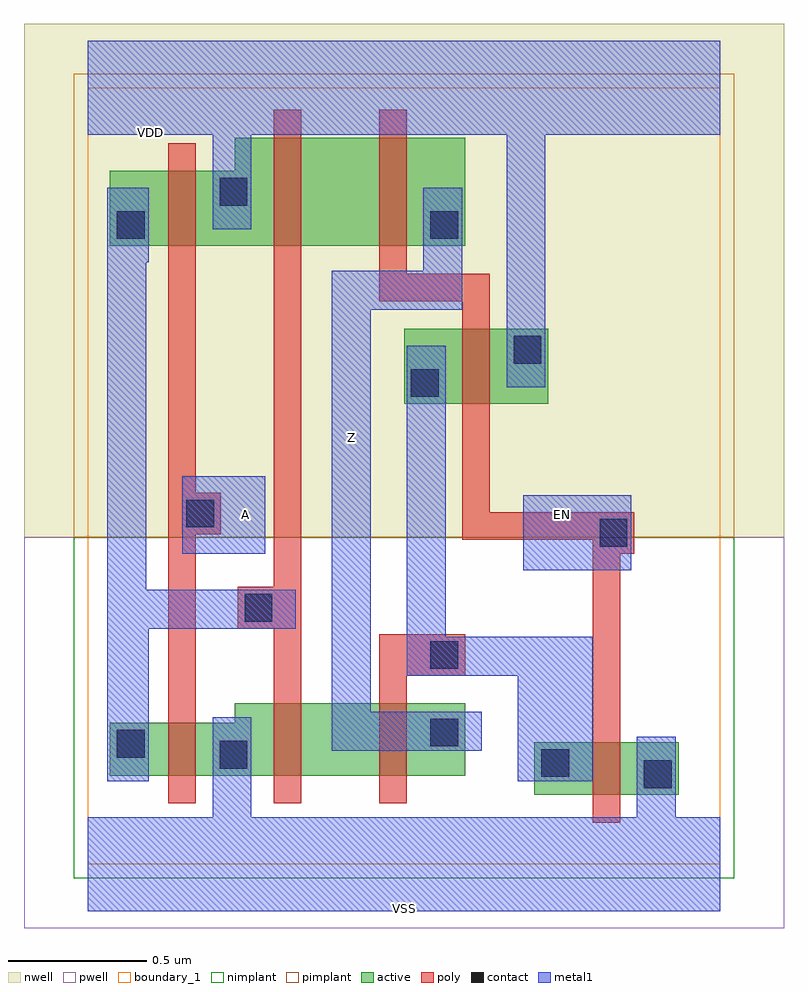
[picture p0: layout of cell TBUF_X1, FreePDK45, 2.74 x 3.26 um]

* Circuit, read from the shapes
.subckt TBUF_X1 A EN VDD VSS Z
M1 VSS A n1 VSUBS nfet w=0.19u l=0.1u
M2 n2 n1 VSS VSUBS nfet w=0.26u l=0.1u
M3 Z n3 n2 VSUBS nfet w=0.26u l=0.1u
M4 VSS EN n3 VSUBS nfet w=0.19u l=0.1u
M5 VDD A n1 n4 pfet w=0.27u l=0.1u
M6 n5 n1 VDD n4 pfet w=0.39u l=0.1u
M7 Z EN n5 n4 pfet w=0.39u l=0.1u
M8 VDD EN n3 n4 pfet w=0.27u l=0.1u
.ends

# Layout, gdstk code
import gdstk
lib = gdstk.Library(unit=1e-6, precision=1e-09)
def R(c, l, rs):  # rectangles x0, y0, x1, y1
    for r in rs: c.add(gdstk.rectangle(r[:2], r[2:], *l))
def P(c, l, *ps):  # polygons
    for p in ps: c.add(gdstk.Polygon(p, *l))
active = (1, 0)
pwell = (2, 0)
nwell = (3, 0)
nimplant = (4, 0)
pimplant = (5, 0)
poly = (9, 0)
contact = (10, 0)
metal1 = (11, 0)
boundary_1 = (235, 1)

tbuf_x1 = lib.new_cell('TBUF_X1')
R(tbuf_x1, active, [(1.61,0.25,2.13,0.44), (1.14,1.66,1.66,1.93)])
P(tbuf_x1, active, [(0.08,2.23),(1.36,2.23),(1.36,2.62),(0.53,2.62),(0.53,2.5),(0.08,2.5)],
  [(0.08,0.32),(1.36,0.32),(1.36,0.58),(0.53,0.58),(0.53,0.51),(0.08,0.51)])
R(tbuf_x1, pwell, [(-0.23,-0.23,2.51,1.18)])
R(tbuf_x1, nwell, [(-0.23,1.18,2.51,3.03)])
R(tbuf_x1, nimplant, [(-0.05,-0.05,2.33,1.18)])
R(tbuf_x1, pimplant, [(-0.05,1.18,2.33,2.85)])
P(tbuf_x1, poly, [(1.05,2.03),(1.35,2.03),(1.35,1.17),(1.82,1.17),(1.82,0.15),(1.92,0.15),(1.92,1.12),(1.97,1.12),(1.97,1.27),(1.45,1.27),(1.45,2.13),(1.15,2.13),(1.15,2.72),(1.05,2.72)],
  [(1.05,0.22),(1.15,0.22),(1.15,0.68),(1.36,0.68),(1.36,0.83),(1.05,0.83)],
  [(0.54,0.85),(0.67,0.85),(0.67,0.22),(0.77,0.22),(0.77,2.72),(0.67,2.72),(0.67,1),(0.54,1)],
  [(0.29,0.22),(0.39,0.22),(0.39,1.19),(0.48,1.19),(0.48,1.34),(0.39,1.34),(0.39,2.6),(0.29,2.6)])
R(tbuf_x1, contact, [(2.005,0.275,2.105,0.375), (1.635,0.315,1.735,0.415), (0.475,0.345,0.575,0.445), (0.105,0.385,0.205,0.485), (1.235,0.425,1.335,0.525), (1.235,0.705,1.335,0.805), (0.565,0.875,0.665,0.975), (1.845,1.145,1.945,1.245), (0.355,1.215,0.455,1.315), (1.165,1.685,1.265,1.785), (1.535,1.805,1.635,1.905), (0.105,2.255,0.205,2.355), (1.235,2.255,1.335,2.355), (0.475,2.375,0.575,2.475)])
R(tbuf_x1, metal1, [(1.57,1.06,1.96,1.33), (1.57,1.06,1.96,1.33), (0.34,1.12,0.64,1.4), (0.34,1.12,0.64,1.4)])
P(tbuf_x1, metal1, [(0,-0.17),(2.28,-0.17),(2.28,0.17),(2.12,0.17),(2.12,0.46),(1.98,0.46),(1.98,0.17),(0.59,0.17),(0.59,0.53),(0.45,0.53),(0.45,0.17),(0,0.17)],
  [(0,2.63),(0.45,2.63),(0.45,2.29),(0.59,2.29),(0.59,2.63),(1.51,2.63),(1.51,1.72),(1.65,1.72),(1.65,2.63),(2.28,2.63),(2.28,2.97),(0,2.97)],
  [(0.88,0.41),(1.42,0.41),(1.42,0.55),(1.02,0.55),(1.02,2),(1.35,2),(1.35,2.44),(1.21,2.44),(1.21,2.14),(0.88,2.14)],
  [(0,2.63),(0.45,2.63),(0.45,2.29),(0.59,2.29),(0.59,2.63),(1.51,2.63),(1.51,1.72),(1.65,1.72),(1.65,2.63),(2.28,2.63),(2.28,2.97),(0,2.97)],
  [(0,-0.17),(2.28,-0.17),(2.28,0.17),(2.12,0.17),(2.12,0.46),(1.98,0.46),(1.98,0.17),(0.59,0.17),(0.59,0.53),(0.45,0.53),(0.45,0.17),(0,0.17)],
  [(1.15,0.68),(1.55,0.68),(1.55,0.3),(1.82,0.3),(1.82,0.82),(1.29,0.82),(1.29,1.87),(1.15,1.87)],
  [(0.88,0.41),(1.42,0.41),(1.42,0.55),(1.02,0.55),(1.02,2),(1.35,2),(1.35,2.44),(1.21,2.44),(1.21,2.14),(0.88,2.14)],
  [(0.07,0.3),(0.22,0.3),(0.22,0.85),(0.75,0.85),(0.75,0.99),(0.21,0.99),(0.21,2.17),(0.22,2.17),(0.22,2.44),(0.07,2.44)])
R(tbuf_x1, boundary_1, [(0,0,2.28,2.8)])
tbuf_x1.add(gdstk.Label('Z', (0.95,1.54), layer=11, texttype=0))
tbuf_x1.add(gdstk.Label('VSS', (1.14,-0.16), layer=11, texttype=0))
tbuf_x1.add(gdstk.Label('VDD', (0.225,2.64), layer=11, texttype=0))
tbuf_x1.add(gdstk.Label('EN', (1.71,1.26), layer=11, texttype=0))
tbuf_x1.add(gdstk.Label('A', (0.57,1.26), layer=11, texttype=0))

lib.write_gds('TBUF_X1.gds')
